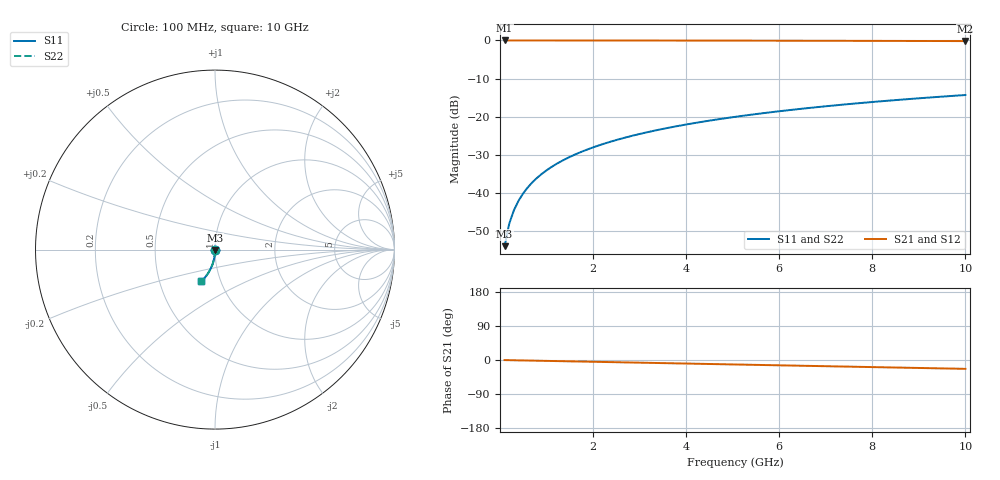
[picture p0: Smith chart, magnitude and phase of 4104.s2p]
# Hz S RI R 50.00
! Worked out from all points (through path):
!   100 points, 100 MHz to 10 GHz, reference 50 ohm
!   highest |S21| = 0.00 dB at 100 MHz (marker M1); lowest = -0.2 dB at 10 GHz (marker M2)
!   group delay of S21, straight-line fit = 6.49 ps
!   lowest |S11| = -53.9 dB at 100 MHz (marker M3), VSWR 1.00, Z = 50 - j0.198 ohm
!   |S11| at or under -10 dB: start of sweep to end of sweep
!   |S22| runs from -53.9 to -14.3 dB; largest |S21 - S12| = 0
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1e8  0.000329 -0.00198  0.9996 -0.00408  0.9996 -0.00408  0.000329 -0.00198
2e8  0.000304 -0.00396  0.9996 -0.00815  0.9996 -0.00815  0.000304 -0.00396
3e8  0.000262 -0.00594  0.9996 -0.0122  0.9996 -0.0122  0.000262 -0.00594
4e8  0.000204 -0.00793  0.9995 -0.0163  0.9995 -0.0163  0.000204 -0.00793
5e8  0.00013 -0.00991  0.9994 -0.0204  0.9994 -0.0204  0.00013 -0.00991
6e8  3.92e-05 -0.0119  0.9993 -0.0245  0.9993 -0.0245  3.92e-05 -0.0119
7e8  -6.77e-05 -0.0139  0.9991 -0.0285  0.9991 -0.0285  -6.77e-05 -0.0139
8e8  -0.000191 -0.0158  0.999 -0.0326  0.999 -0.0326  -0.000191 -0.0158
9e8  -0.00033 -0.0178  0.9988 -0.0367  0.9988 -0.0367  -0.00033 -0.0178
1.1e9  -0.000658 -0.0218  0.9984 -0.0448  0.9984 -0.0448  -0.000658 -0.0218
1.4e9  -0.00127 -0.0277  0.9976 -0.057  0.9976 -0.057  -0.00127 -0.0277
1.8e9  -0.00231 -0.0356  0.9963 -0.0733  0.9963 -0.0733  -0.00231 -0.0356
2.1e9  -0.00326 -0.0415  0.995 -0.0855  0.995 -0.0855  -0.00326 -0.0415
2.5e9  -0.00476 -0.0493  0.9931 -0.1017  0.9931 -0.1017  -0.00476 -0.0493
2.9e9  -0.0065 -0.057  0.9909 -0.1179  0.9909 -0.1179  -0.0065 -0.057
3.4e9  -0.00904 -0.0666  0.9877 -0.138  0.9877 -0.138  -0.00904 -0.0666
4.2e9  -0.0139 -0.0818  0.9814 -0.17  0.9814 -0.17  -0.0139 -0.0818
5.1e9  -0.0206 -0.0984  0.9729 -0.2056  0.9729 -0.2056  -0.0206 -0.0984
5.9e9  -0.0275 -0.1127  0.964 -0.2369  0.964 -0.2369  -0.0275 -0.1127
6.7e9  -0.0353 -0.1265  0.9539 -0.2677  0.9539 -0.2677  -0.0353 -0.1265
8.4e9  -0.0547 -0.1539  0.9286 -0.3313  0.9286 -0.3313  -0.0547 -0.1539
1e10  -0.0761 -0.1768  0.9004 -0.3885  0.9004 -0.3885  -0.0761 -0.1768
